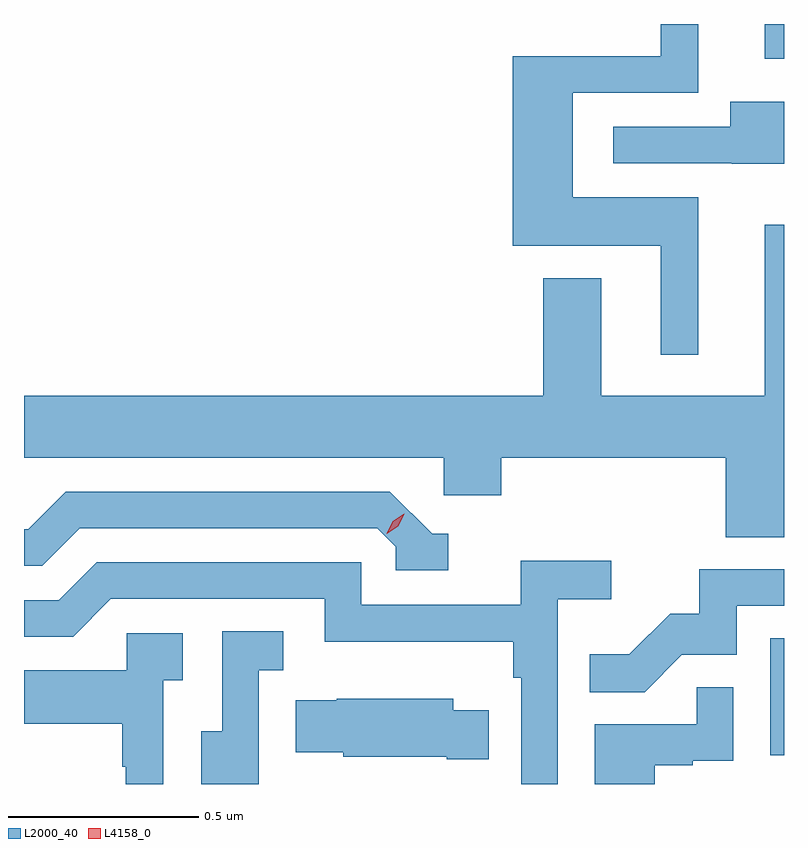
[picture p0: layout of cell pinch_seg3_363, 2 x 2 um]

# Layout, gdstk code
import gdstk
lib = gdstk.Library(unit=1e-6, precision=1e-09)
def R(c, l, rs):  # rectangles x0, y0, x1, y1
    for r in rs: c.add(gdstk.rectangle(r[:2], r[2:], *l))
def P(c, l, *ps):  # polygons
    for p in ps: c.add(gdstk.Polygon(p, *l))
L2000_40 = (2000, 40)
L4158_0 = (4158, 0)

pinch_seg3_363 = lib.new_cell('pinch_seg3_363')
R(pinch_seg3_363, L2000_40, [(988.316,692.142,988.352,692.449), (988.301,693.975,988.352,694.066)])
P(pinch_seg3_363, L2000_40, [(988.126,693.61),(987.796,693.61),(987.796,693.885),(988.126,693.885),(988.126,694.066),(988.028,694.066),(988.028,693.981),(987.638,693.981),(987.638,693.482),(988.028,693.482),(988.028,693.195),(988.126,693.195)],
  [(988.352,693.862),(988.211,693.862),(988.211,693.795),(987.903,693.795),(987.903,693.699),(988.215,693.699),(988.215,693.698),(988.352,693.698)],
  [(988.352,693.538),(988.301,693.538),(988.301,693.088),(987.871,693.088),(987.871,693.397),(987.719,693.397),(987.719,693.088),(986.352,693.088),(986.352,692.924),(987.456,692.924),(987.456,692.826),(987.608,692.826),(987.608,692.924),(988.199,692.924),(988.199,692.716),(988.352,692.716)],
  [(987.469,692.724),(987.426,692.724),(987.315,692.835),(986.462,692.835),(986.363,692.736),(986.352,692.736),(986.352,692.64),(986.4,692.64),(986.499,692.739),(987.282,692.739),(987.33,692.691),(987.33,692.628),(987.469,692.628)],
  [(987.756,692.552),(987.898,692.552),(987.898,692.654),(987.659,692.654),(987.659,692.538),(987.24,692.538),(987.24,692.649),(986.543,692.649),(986.444,692.55),(986.352,692.55),(986.352,692.454),(986.481,692.454),(986.58,692.553),(987.144,692.553),(987.144,692.441),(987.64,692.441),(987.64,692.345),(987.66,692.345),(987.66,692.066),(987.756,692.066)],
  [(988.083,692.406),(988.227,692.406),(988.227,692.535),(988.352,692.535),(988.352,692.631),(988.129,692.631),(988.129,692.514),(988.052,692.514),(987.945,692.407),(987.841,692.407),(987.841,692.308),(987.985,692.308)],
  [(986.97,692.365),(987.034,692.365),(987.034,692.468),(986.874,692.468),(986.874,692.205),(986.819,692.205),(986.819,692.066),(986.97,692.066)],
  [(986.718,692.339),(986.77,692.339),(986.77,692.463),(986.622,692.463),(986.622,692.365),(986.352,692.365),(986.352,692.225),(986.61,692.225),(986.61,692.111),(986.62,692.111),(986.62,692.066),(986.718,692.066)],
  [(988.012,692.115),(988.112,692.115),(988.112,692.127),(988.218,692.127),(988.218,692.321),(988.123,692.321),(988.123,692.223),(987.854,692.223),(987.854,692.066),(988.012,692.066)],
  [(987.575,692.26),(987.481,692.26),(987.481,692.29),(987.175,692.29),(987.175,692.287),(987.067,692.287),(987.067,692.15),(987.192,692.15),(987.192,692.138),(987.464,692.138),(987.464,692.131),(987.575,692.131)])
P(pinch_seg3_363, L4158_0, [(987.306,692.725),(987.306,692.725),(987.322,692.758),(987.353,692.777),(987.353,692.777),(987.353,692.777),(987.337,692.744),(987.306,692.725)])

lib.write_gds('pinch_seg3_363.gds')
